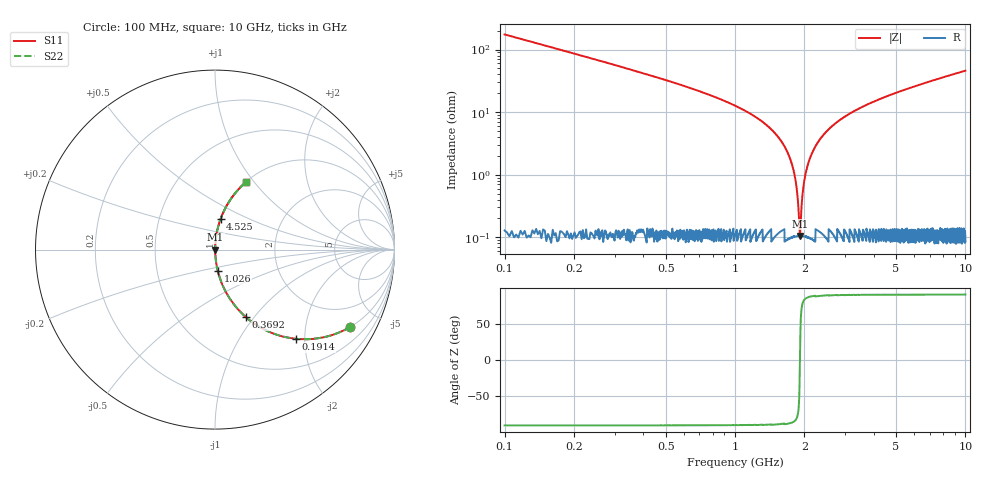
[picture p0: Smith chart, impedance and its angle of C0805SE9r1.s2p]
! AVX Thin Film Operation		Date: April 2012
! Description: Accu-P® Series, Thin Film, SMD, RF Capacitor
! Part Number: 08051J9R1BBTTR
!	100	MHz	-	10.05	GHz
!	Serial	Measurements
#	MHZ	S	MA	R	50
!	S11	S21	S12	S22
!	dB	Phase	dB	Phase	dB	Phase	dB	Phase
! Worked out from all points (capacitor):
!   4010 points, 100 MHz to 10 GHz, reference 50 ohm
!   read as one part in series: C = 9.1 pF near 149.4 MHz
!   lowest |Z| = 105 mohm at 1.913 GHz (marker M1)
!   series resonance near 1.914 GHz, so ESL is about 760 pH
!   S11 on the Smith chart (normalised r, x): 100 MHz: 1.00, -3.49; 191.4 MHz: 1.00, -1.81; 369.2 MHz: 1.00, -0.91; 1.026 GHz: 1.00, -0.24; 4.525 GHz: 1.00, +0.36; 10 GHz: 1.00, +0.92
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100  0.867 -29.8  0.497 60.1  0.497 60.1  0.867 -29.8
191.369  0.671 -47.8  0.741 42.1  0.741 42.1  0.671 -47.8
369.169  0.415 -65.4  0.909 24.5  0.909 24.5  0.415 -65.4
603.767  0.252 -75.2  0.967 14.6  0.967 14.6  0.252 -75.2
1026.041  0.12 -82.6  0.992 6.9  0.992 6.9  0.12 -82.6
1502.644  0.045 -86.0  0.998 2.6  0.998 2.6  0.045 -86.0
1752.058  0.016 -85.2  0.999 0.9  0.999 0.9  0.016 -85.2
1816.263  0.0096 -82.9  0.999 0.5  0.999 0.5  0.0096 -82.9
1880.469  0.00337 -70.8  0.999 0.2  0.999 0.2  0.00337 -70.8
1912.572  0.0011 -4.9  0.999 0.0  0.999 0.0  0.0011 -4.9
1942.205  0.00293 67.8  0.999 -0.2  0.999 -0.2  0.00293 67.8
1994.063  0.00761 81.3  0.999 -0.4  0.999 -0.4  0.00761 81.3
2053.33  0.013 84.4  0.999 -0.7  0.999 -0.7  0.013 84.4
2144.699  0.021 85.8  0.999 -1.2  0.999 -1.2  0.021 85.8
2273.111  0.032 86.2  0.998 -1.8  0.998 -1.8  0.032 86.2
2702.794  0.064 85.3  0.997 -3.7  0.997 -3.7  0.064 85.3
3401.646  0.11 83.1  0.993 -6.3  0.993 -6.3  0.11 83.1
4525.243  0.175 79.6  0.984 -10.1  0.984 -10.1  0.175 79.6
5051.235  0.202 78.0  0.978 -11.7  0.978 -11.7  0.202 78.0
6700.823  0.282 73.4  0.958 -16.4  0.958 -16.4  0.282 73.4
8350.412  0.353 69.2  0.935 -20.7  0.935 -20.7  0.353 69.2
10000  0.418 65.2  0.908 -24.7  0.908 -24.7  0.418 65.2
